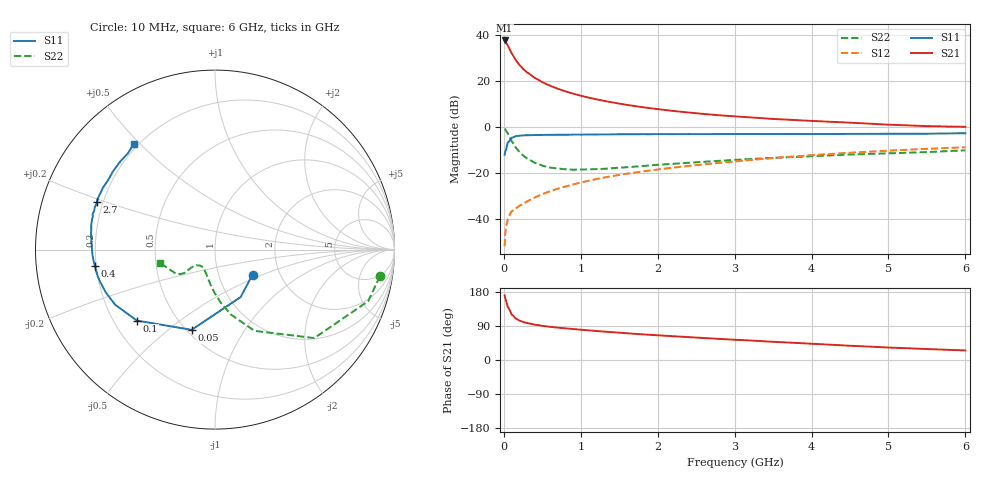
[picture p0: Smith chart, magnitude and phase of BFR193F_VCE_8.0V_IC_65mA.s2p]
! (c) 2017  Infineon Technologies AG, Munich
! Infineon Technologies  Discrete & RF Semiconductors
! BFR193F
! VCE =  8.0 V,  IC =  65 mA
! Common Emitter S-Parameters:  Jan 2017
# GHz  S  MA  R  50
!  f  S11  S21  S12  S22
! GHz  MAG  ANG  MAG  ANG  MAG  ANG  MAG  ANG
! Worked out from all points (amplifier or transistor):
!   77 points, 10 MHz to 6 GHz, reference 50 ohm
!   highest |S21| = 37.7 dB at 10 MHz (marker M1)
!   |S21| within 3 dB of that: start of sweep to 63.93 MHz
!   unconditionally stable (mu >= 1): 746.7 MHz to 2.617 GHz
!   at 130 MHz: K = 0.51, MSG = 33.2 dB, |S12| = -35.9 dB
!   at 2.2 GHz: K = 1.02, MAG = 11.6 dB, |S12| = -17.6 dB
!   at 6 GHz: K = 0.85, MSG = 4.5 dB, |S12| = -8.7 dB
!   S11 on the Smith chart (normalised r, x): 10 MHz: 1.45, -0.43; 50 MHz: 0.53, -0.60; 100 MHz: 0.30, -0.36; 400 MHz: 0.19, -0.07; 2.7 GHz: 0.18, +0.19; 6 GHz: 0.18, +0.48
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0.01  0.2515 -33.8  76.93 170.6  0.0026 87.5  0.9306 -9.2
0.02  0.3006 -61.6  73.68 161.5  0.0053 77.4  0.9007 -18.6
0.05  0.4657 -106.3  60.5 140.3  0.0099 61.7  0.7409 -41.7
0.1  0.5879 -137.7  40.86 120.2  0.0148 51.6  0.5034 -64.1
0.15  0.6354 -151.1  29.6 110.3  0.0169 52.5  0.3709 -76.4
0.2  0.6537 -158.6  22.92 104.3  0.0196 54.9  0.2953 -84.0
0.25  0.6636 -163.8  18.59 100.4  0.0215 57.5  0.2432 -90.2
0.3  0.6704 -167.3  15.67 97.5  0.0243 59.9  0.2115 -95.0
0.4  0.676 -172.1  11.86 93.2  0.0295 63.4  0.169 -102.7
0.5  0.6801 -175.4  9.544 90.2  0.0351 66.0  0.1464 -108.9
0.6  0.6835 -177.7  7.996 87.6  0.0406 69.0  0.1329 -114.6
0.7  0.6858 179.8  6.872 85.4  0.0462 70.4  0.1268 -119.0
0.8  0.6865 178.2  6.016 83.6  0.0512 71.4  0.1217 -123.5
0.9  0.6911 176.4  5.371 81.7  0.057 72.8  0.1194 -126.5
1.1  0.6948 173.8  4.41 78.2  0.0686 73.7  0.1219 -131.6
1.5  0.7024 168.9  3.265 72.1  0.0919 74.5  0.1324 -138.5
2.1  0.7085 163.1  2.368 64.0  0.1264 74.4  0.1564 -142.4
2.7  0.7097 158.0  1.882 56.9  0.1622 73.4  0.1818 -142.8
3.1  0.7119 154.7  1.68 52.5  0.1869 72.6  0.1991 -142.3
4.1  0.7112 145.9  1.349 41.9  0.253 68.6  0.2381 -145.2
5.1  0.7209 136.2  1.121 32.1  0.3156 63.0  0.2739 -155.6
6  0.7424 127.7  1.021 25.2  0.3664 57.7  0.3154 -166.4
